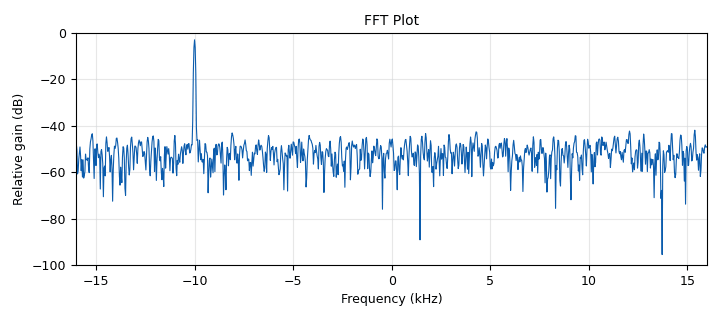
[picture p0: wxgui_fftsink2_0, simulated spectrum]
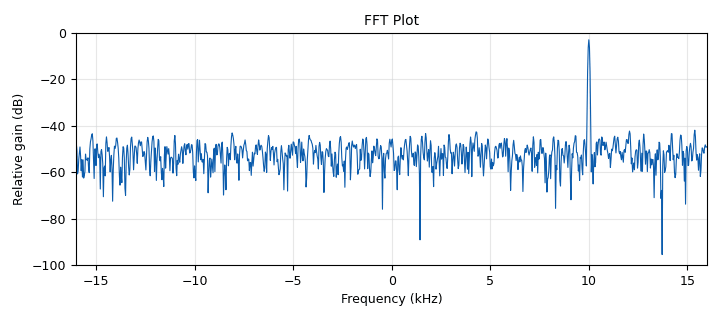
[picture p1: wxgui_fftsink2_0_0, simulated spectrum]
<?xml version='1.0' encoding='utf-8'?>
<?grc format='1' created='3.7.9'?>
<flow_graph>
<block>
<key>options</key>
<param><key>id</key><value>top_block</value></param>
<param><key>category</key><value>Custom</value></param>
<param><key>generate_options</key><value>wx_gui</value></param>
</block>
<block>
<key>variable</key>
<param><key>id</key><value>samp_rate</value></param>
<param><key>value</key><value>32000</value></param>
</block>
<block>
<key>analog_noise_source_x</key>
<param><key>id</key><value>analog_noise_source_x_0</value></param>
<param><key>amp</key><value>0.1</value></param>
<param><key>noise_type</key><value>analog.GR_GAUSSIAN</value></param>
<param><key>type</key><value>complex</value></param>
<param><key>seed</key><value>0</value></param>
</block>
<block>
<key>analog_noise_source_x</key>
<param><key>id</key><value>analog_noise_source_x_0_0</value></param>
<param><key>amp</key><value>0.1</value></param>
<param><key>noise_type</key><value>analog.GR_GAUSSIAN</value></param>
<param><key>type</key><value>complex</value></param>
<param><key>seed</key><value>0</value></param>
</block>
<block>
<key>analog_sig_source_x</key>
<param><key>id</key><value>analog_sig_source_x_0</value></param>
<param><key>amp</key><value>1</value></param>
<param><key>freq</key><value>-10e3</value></param>
<param><key>offset</key><value>0</value></param>
<param><key>type</key><value>complex</value></param>
<param><key>samp_rate</key><value>samp_rate</value></param>
<param><key>waveform</key><value>analog.GR_COS_WAVE</value></param>
</block>
<block>
<key>analog_sig_source_x</key>
<param><key>id</key><value>analog_sig_source_x_0_0</value></param>
<param><key>amp</key><value>1</value></param>
<param><key>freq</key><value>10e3</value></param>
<param><key>offset</key><value>0</value></param>
<param><key>type</key><value>complex</value></param>
<param><key>samp_rate</key><value>samp_rate</value></param>
<param><key>waveform</key><value>analog.GR_COS_WAVE</value></param>
</block>
<block>
<key>blocks_add_xx</key>
<param><key>id</key><value>blocks_add_xx_0</value></param>
<param><key>type</key><value>complex</value></param>
</block>
<block>
<key>blocks_add_xx</key>
<param><key>id</key><value>blocks_add_xx_0_0</value></param>
<param><key>type</key><value>complex</value></param>
</block>
<block>
<key>blocks_file_sink</key>
<param><key>id</key><value>blocks_file_sink_0</value></param>
<param><key>file</key><value>/home/asanka/Downloads/Jupyter-Notebooks/data/4.training-class-1.cfile</value></param>
<param><key>type</key><value>complex</value></param>
</block>
<block>
<key>blocks_file_sink</key>
<param><key>id</key><value>blocks_file_sink_0_0</value></param>
<param><key>file</key><value>/home/asanka/Downloads/Jupyter-Notebooks/data/4.training-class-2.cfile</value></param>
<param><key>type</key><value>complex</value></param>
</block>
<block>
<key>blocks_throttle</key>
<param><key>id</key><value>blocks_throttle_0</value></param>
<param><key>samples_per_second</key><value>samp_rate</value></param>
<param><key>type</key><value>complex</value></param>
</block>
<block>
<key>blocks_throttle</key>
<param><key>id</key><value>blocks_throttle_0_0</value></param>
<param><key>samples_per_second</key><value>samp_rate</value></param>
<param><key>type</key><value>complex</value></param>
</block>
<block>
<key>wxgui_fftsink2</key>
<param><key>id</key><value>wxgui_fftsink2_0</value></param>
<param><key>avg_alpha</key><value>0</value></param>
<param><key>average</key><value>False</value></param>
<param><key>baseband_freq</key><value>0</value></param>
<param><key>fft_size</key><value>1024</value></param>
<param><key>freqvar</key><value>None</value></param>
<param><key>peak_hold</key><value>False</value></param>
<param><key>ref_level</key><value>0</value></param>
<param><key>ref_scale</key><value>2.0</value></param>
<param><key>fft_rate</key><value>15</value></param>
<param><key>samp_rate</key><value>samp_rate</value></param>
<param><key>title</key><value>FFT Plot</value></param>
<param><key>type</key><value>complex</value></param>
<param><key>win</key><value>None</value></param>
<param><key>y_divs</key><value>10</value></param>
<param><key>y_per_div</key><value>10</value></param>
</block>
<block>
<key>wxgui_fftsink2</key>
<param><key>id</key><value>wxgui_fftsink2_0_0</value></param>
<param><key>avg_alpha</key><value>0</value></param>
<param><key>average</key><value>False</value></param>
<param><key>baseband_freq</key><value>0</value></param>
<param><key>fft_size</key><value>1024</value></param>
<param><key>freqvar</key><value>None</value></param>
<param><key>peak_hold</key><value>False</value></param>
<param><key>ref_level</key><value>0</value></param>
<param><key>ref_scale</key><value>2.0</value></param>
<param><key>fft_rate</key><value>15</value></param>
<param><key>samp_rate</key><value>samp_rate</value></param>
<param><key>title</key><value>FFT Plot</value></param>
<param><key>type</key><value>complex</value></param>
<param><key>win</key><value>None</value></param>
<param><key>y_divs</key><value>10</value></param>
<param><key>y_per_div</key><value>10</value></param>
</block>
<connection><source_block_id>analog_noise_source_x_0</source_block_id><sink_block_id>blocks_add_xx_0</sink_block_id><source_key>0</source_key><sink_key>1</sink_key></connection>
<connection><source_block_id>analog_noise_source_x_0_0</source_block_id><sink_block_id>blocks_add_xx_0_0</sink_block_id><source_key>0</source_key><sink_key>1</sink_key></connection>
<connection><source_block_id>analog_sig_source_x_0</source_block_id><sink_block_id>blocks_add_xx_0</sink_block_id><source_key>0</source_key><sink_key>0</sink_key></connection>
<connection><source_block_id>analog_sig_source_x_0_0</source_block_id><sink_block_id>blocks_add_xx_0_0</sink_block_id><source_key>0</source_key><sink_key>0</sink_key></connection>
<connection><source_block_id>blocks_add_xx_0</source_block_id><sink_block_id>blocks_throttle_0</sink_block_id><source_key>0</source_key><sink_key>0</sink_key></connection>
<connection><source_block_id>blocks_add_xx_0_0</source_block_id><sink_block_id>blocks_throttle_0_0</sink_block_id><source_key>0</source_key><sink_key>0</sink_key></connection>
<connection><source_block_id>blocks_throttle_0</source_block_id><sink_block_id>blocks_file_sink_0</sink_block_id><source_key>0</source_key><sink_key>0</sink_key></connection>
<connection><source_block_id>blocks_throttle_0</source_block_id><sink_block_id>wxgui_fftsink2_0</sink_block_id><source_key>0</source_key><sink_key>0</sink_key></connection>
<connection><source_block_id>blocks_throttle_0_0</source_block_id><sink_block_id>blocks_file_sink_0_0</sink_block_id><source_key>0</source_key><sink_key>0</sink_key></connection>
<connection><source_block_id>blocks_throttle_0_0</source_block_id><sink_block_id>wxgui_fftsink2_0_0</sink_block_id><source_key>0</source_key><sink_key>0</sink_key></connection>
</flow_graph>
